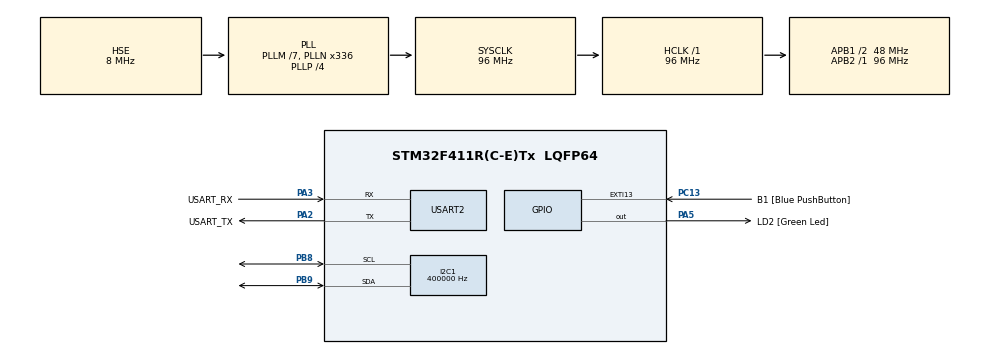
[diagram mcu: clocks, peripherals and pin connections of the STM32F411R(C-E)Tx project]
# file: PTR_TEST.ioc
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I2C1.ClockSpeed=400000
I2C1.GeneralCallMode=I2C_GENERALCALL_ENABLE
I2C1.I2C_Mode=I2C_Fast
I2C1.OwnAddress=0x78
Mcu.Family=STM32F4
Mcu.Name=STM32F411R(C-E)Tx
Mcu.Package=LQFP64
NVIC.EXTI15_10_IRQn=true\:0\:0\:true\:false\:true\:true\:true\:true
NVIC.I2C1_ER_IRQn=true\:0\:0\:false\:false\:true\:true\:true\:true
NVIC.I2C1_EV_IRQn=true\:0\:0\:false\:false\:true\:true\:true\:true
NVIC.PriorityGroup=NVIC_PRIORITYGROUP_0
PA13.GPIO_Label=TMS
PA13.Mode=Serial_Wire
PA13.Signal=SYS_JTMS-SWDIO
PA14.GPIO_Label=TCK
PA14.Mode=Serial_Wire
PA14.Signal=SYS_JTCK-SWCLK
PA2.GPIO_Label=USART_TX
PA2.Mode=Asynchronous
PA2.Signal=USART2_TX
PA3.GPIO_Label=USART_RX
PA3.Mode=Asynchronous
PA3.Signal=USART2_RX
PA5.GPIO_Label=LD2 [Green Led]
PA5.Signal=GPIO_Output
PB3.GPIO_Label=SWO
PB3.Signal=SYS_JTDO-SWO
PB8.Mode=I2C
PB8.Signal=I2C1_SCL
PB9.Mode=I2C
PB9.Signal=I2C1_SDA
PC13-ANTI_TAMP.GPIO_Label=B1 [Blue PushButton]
PC13-ANTI_TAMP.GPIO_ModeDefaultEXTI=GPIO_MODE_IT_FALLING
PC13-ANTI_TAMP.GPIO_PuPd=GPIO_PULLUP
PC13-ANTI_TAMP.Signal=GPXTI13
PC14-OSC32_IN.Mode=LSE-External-Oscillator
PC14-OSC32_IN.Signal=RCC_OSC32_IN
PC15-OSC32_OUT.Mode=LSE-External-Oscillator
PC15-OSC32_OUT.Signal=RCC_OSC32_OUT
PH0\ -\ OSC_IN.Mode=HSE-External-Clock-Source
PH0\ -\ OSC_IN.Signal=RCC_OSC_IN
PH1\ -\ OSC_OUT.Mode=HSE-External-Clock-Source
PH1\ -\ OSC_OUT.Signal=RCC_OSC_OUT
ProjectManager.HeapSize=0x200
ProjectManager.StackSize=0x400
ProjectManager.TargetToolchain=STM32CubeIDE
RCC.48MHZClocksFreq_Value=96000000.00000001
RCC.AHBFreq_Value=96000000.00000001
RCC.APB1CLKDivider=RCC_HCLK_DIV2
RCC.APB1Freq_Value=48000000.00000001
RCC.APB1TimFreq_Value=96000000.00000001
RCC.APB2Freq_Value=96000000.00000001
RCC.APB2TimFreq_Value=96000000.00000001
RCC.CortexFreq_Value=96000000.00000001
RCC.FLatency-AdvancedSettings=FLASH_LATENCY_3
RCC.HCLKFreq_Value=96000000.00000001
RCC.HSE_VALUE=8000000
RCC.HSI_VALUE=16000000
RCC.PLLM=7
RCC.PLLN=336
RCC.PLLP=RCC_PLLP_DIV4
RCC.PLLSourceVirtual=RCC_PLLSOURCE_HSE
RCC.SYSCLKFreq_VALUE=96000000.00000001
RCC.SYSCLKSource=RCC_SYSCLKSOURCE_PLLCLK
RCC.VCOOutputFreq_Value=384000000.00000006
USART2.VirtualMode=VM_ASYNC
board=NUCLEO-F411RE

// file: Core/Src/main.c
/* USER CODE BEGIN Header */
/**
  ******************************************************************************
  * @file           : main.c
  * @brief          : Main program body
  ******************************************************************************
  * @attention
  *
  * Copyright (c) 2023 STMicroelectronics.
  * All rights reserved.
  *
  * This software is licensed under terms that can be found in the LICENSE file
  * in the root directory of this software component.
  * If no LICENSE file comes with this software, it is provided AS-IS.
  *
  ******************************************************************************
  */
/* USER CODE END Header */
#include "main.h"
#include "i2c.h"
#include "usart.h"
#include "gpio.h"

/* USER CODE BEGIN Includes */
//#include "SM_test.h"
#include <stdio.h>
#include "stm32f4xx_hal.h"
#include <string.h>
#include "ssd1306.h"
#include "ssd1306_tests.h"
//UART_HandleTypeDef huart2;
/* USER CODE END Includes */

/* USER CODE BEGIN PTD */
enum statetype {
	              state_A = 0,
				  state_B,
				  state_C,
				  state_D
};
typedef enum statetype state;

/* USER CODE END PTD */

void SystemClock_Config(void);

/* USER CODE BEGIN 0 */
uint16_t test1;
state present_state;

void fun_state_a(void){
	 ssd1306_Fill(Black);
	sm_test1("123456789" , 15);
	sm_test1("123456789" , 25);
	sm_test1("123456789" , 35);
	sm_test1("123456789" , 45);
	 HAL_UART_Transmit(&huart2, (uint8_t *)"hello state_a\r\n", strlen("hello state_d\r\n"), HAL_MAX_DELAY);
}
void fun_state_b(void){
	 ssd1306_Fill(Black);
	sm_test1("ABCDEFGHIJKL" , 15);
	sm_test1("ABCDEFGHIJKL" , 25);
	sm_test1("ABCDEFGHIJKL" , 35);
	sm_test1("ABCDEFGHIJKL" , 45);
	 HAL_UART_Transmit(&huart2, (uint8_t *)"hello state_b\r\n", strlen("hello state_d\r\n"), HAL_MAX_DELAY);
}
void fun_state_c(void){
	 ssd1306_Fill(Black);
	sm_test1("!@#$%^&*(" , 15);
	sm_test1("!@#$%^&*(" , 25);
	sm_test1("!@#$%^&*(" , 35);
	sm_test1("!@#$%^&*(" , 45);
	 HAL_UART_Transmit(&huart2, (uint8_t *)"hello state_c\r\n", strlen("hello state_d\r\n"), HAL_MAX_DELAY);
}
void fun_state_d(void){
	 ssd1306_Fill(Black);
	sm_test1("fffffffffffffff" , 15);
	sm_test1("fffffffffffffff" , 25);
	sm_test1("fffffffffffffff" , 35);
	sm_test1("fffffffffffffff" , 45);
	 HAL_UART_Transmit(&huart2, (uint8_t *)"hello state_d\r\n", strlen("hello state_d\r\n"), HAL_MAX_DELAY);
}
void (*ptr[])(void)={fun_state_a,fun_state_b,fun_state_c,fun_state_d};
/* USER CODE END 0 */

int main(void)
{

  /* MCU Configuration--------------------------------------------------------*/

  /* Reset of all peripherals, Initializes the Flash interface and the Systick. */
  HAL_Init();

  /* Configure the system clock */
  SystemClock_Config();

  /* Initialize all configured peripherals */
  MX_GPIO_Init();
  MX_USART2_UART_Init();
  MX_I2C1_Init();
  /* USER CODE BEGIN 2 */
  //uint8_t test;
  //printf("hello SM");
  /* USER CODE END 2 */

  /* Infinite loop */
  /* USER CODE BEGIN WHILE */
//char txData[] = "Hello, UART!\r\n";
  ssd1306_Init();
  ssd1306_Fill(White);
  ssd1306_UpdateScreen();
  while (1)
  {
	  //ssd1306_TestAll();
	 // HAL_GPIO_WritePin(GPIOx, GPIO_Pin, PinState)(LD2_GPIO_Port, &GPIO_InitStruct);
	 /* if (HAL_GPIO_ReadPin(B1_GPIO_Port, B1_Pin) == GPIO_PIN_SET) {
	      // Input is high
		  ;
	  } else {
	      // Input is low
		  HAL_GPIO_TogglePin(LD2_GPIO_Port,LD2_Pin );
	  }*/

   // HAL_UART_Transmit(&huart2, (uint8_t *)txData, strlen(txData), HAL_MAX_DELAY);
    HAL_Delay(1000);
    ptr[present_state]();
    if (present_state == state_D)
    	present_state=state_A;
    else
    	present_state++;
    /* USER CODE END WHILE */

  }
}

void SystemClock_Config(void)
{
  RCC_OscInitTypeDef RCC_OscInitStruct = {0};
  RCC_ClkInitTypeDef RCC_ClkInitStruct = {0};

  /** Configure the main internal regulator output voltage
  */
  __HAL_RCC_PWR_CLK_ENABLE();
  __HAL_PWR_VOLTAGESCALING_CONFIG(PWR_REGULATOR_VOLTAGE_SCALE1);

  /** Initializes the RCC Oscillators according to the specified parameters
  * in the RCC_OscInitTypeDef structure.
  */
  RCC_OscInitStruct.OscillatorType = RCC_OSCILLATORTYPE_HSE;
  RCC_OscInitStruct.HSEState = RCC_HSE_BYPASS;
  RCC_OscInitStruct.PLL.PLLState = RCC_PLL_ON;
  RCC_OscInitStruct.PLL.PLLSource = RCC_PLLSOURCE_HSE;
  RCC_OscInitStruct.PLL.PLLM = 7;
  RCC_OscInitStruct.PLL.PLLN = 336;
  RCC_OscInitStruct.PLL.PLLP = RCC_PLLP_DIV4;
  RCC_OscInitStruct.PLL.PLLQ = 4;
  if (HAL_RCC_OscConfig(&RCC_OscInitStruct) != HAL_OK)
  {
    Error_Handler();
  }

  /** Initializes the CPU, AHB and APB buses clocks
  */
  RCC_ClkInitStruct.ClockType = RCC_CLOCKTYPE_HCLK|RCC_CLOCKTYPE_SYSCLK
                              |RCC_CLOCKTYPE_PCLK1|RCC_CLOCKTYPE_PCLK2;
  RCC_ClkInitStruct.SYSCLKSource = RCC_SYSCLKSOURCE_PLLCLK;
  RCC_ClkInitStruct.AHBCLKDivider = RCC_SYSCLK_DIV1;
  RCC_ClkInitStruct.APB1CLKDivider = RCC_HCLK_DIV2;
  RCC_ClkInitStruct.APB2CLKDivider = RCC_HCLK_DIV1;

  if (HAL_RCC_ClockConfig(&RCC_ClkInitStruct, FLASH_LATENCY_3) != HAL_OK)
  {
    Error_Handler();
  }
}

void Error_Handler(void)
{
  __disable_irq();
  while (1)
  {
  }
}
